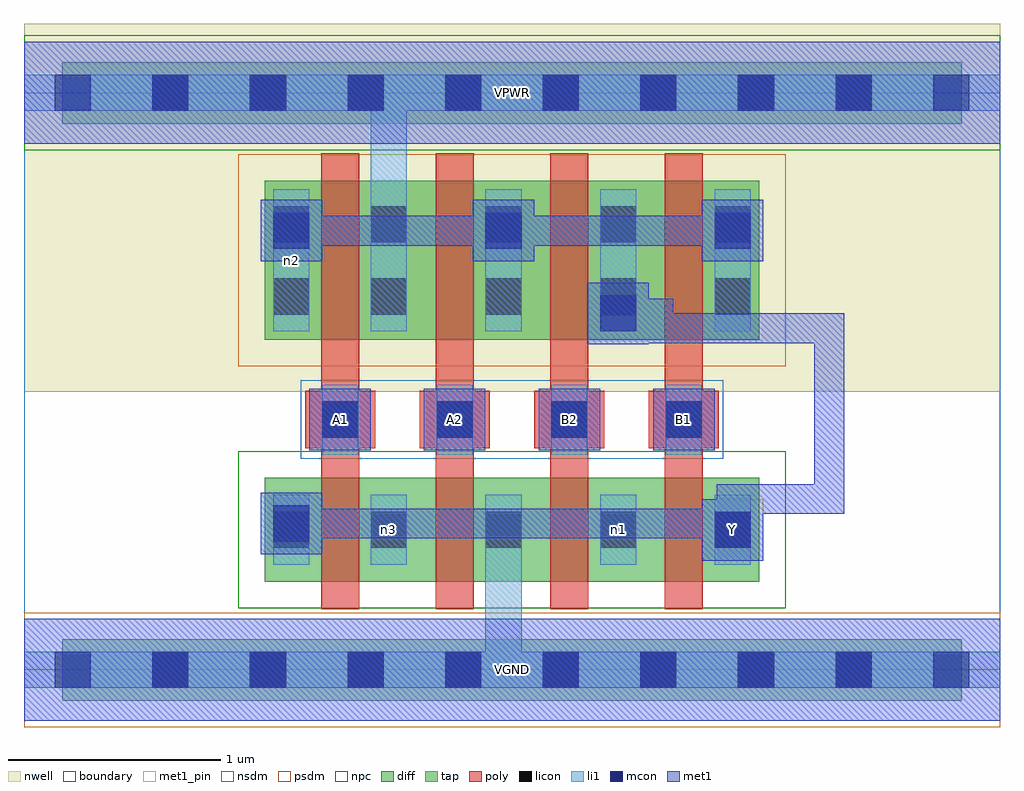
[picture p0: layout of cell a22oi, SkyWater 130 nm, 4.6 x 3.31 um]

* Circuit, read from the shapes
.subckt a22oi A1 A2 B1 B2 VGND VPWR Y n1 n2 n3
XM1 n3 A1 Y VGND sky130_fd_pr__nfet_01v8 w=0.49 l=0.18
XM2 VGND A2 n3 VGND sky130_fd_pr__nfet_01v8 w=0.49 l=0.18
XM3 n1 B2 VGND VGND sky130_fd_pr__nfet_01v8 w=0.49 l=0.18
XM4 Y B1 n1 VGND sky130_fd_pr__nfet_01v8 w=0.49 l=0.18
XM5 VPWR A1 n2 VPWR sky130_fd_pr__pfet_01v8 w=0.75 l=0.18
XM6 n2 A2 VPWR VPWR sky130_fd_pr__pfet_01v8 w=0.75 l=0.18
XM7 Y B2 n2 VPWR sky130_fd_pr__pfet_01v8 w=0.75 l=0.18
XM8 n2 B1 Y VPWR sky130_fd_pr__pfet_01v8 w=0.75 l=0.18
.ends

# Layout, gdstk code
import gdstk
lib = gdstk.Library(unit=1e-6, precision=1e-09)
def R(c, l, rs):  # rectangles x0, y0, x1, y1
    for r in rs: c.add(gdstk.rectangle(r[:2], r[2:], *l))
def A(c, l, x, y, w, h, nx, ny, dx, dy):  # array of equal rectangles
    R(c, l, [(x+i*dx, y+j*dy, x+i*dx+w, y+j*dy+h) for i in range(nx) for j in range(ny)])
nwell = (64, 20)
diff = (65, 20)
tap = (65, 44)
poly = (66, 20)
licon = (66, 44)
li1 = (67, 20)
mcon = (67, 44)
met1_pin = (68, 16)
met1 = (68, 20)
nsdm = (93, 44)
psdm = (94, 20)
npc = (95, 20)
boundary = (235, 4)

a22oi = lib.new_cell('a22oi')
R(a22oi, nwell, [(0,1.31,4.6,3.045)])
R(a22oi, diff, [(1.135,0.415,3.465,0.905), (1.135,1.555,3.465,2.305)])
R(a22oi, tap, [(0.18,-0.145,4.42,0.145), (0.18,2.575,4.42,2.865)])
A(a22oi, poly, 1.4, 0.285, 0.18, 2.15, 4, 1, 0.54, 0)
A(a22oi, poly, 1.325, 1.045, 0.33, 0.27, 4, 1, 0.54, 0)
A(a22oi, licon, 0.605, -0.085, 0.17, 0.17, 8, 2, 0.46, 2.72)
A(a22oi, licon, 1.635, 0.575, 0.17, 0.17, 4, 2, 0.54, 1.1)
A(a22oi, licon, 1.405, 1.095, 0.17, 0.17, 4, 1, 0.54, 0)
A(a22oi, licon, 1.635, 2.015, 0.17, 0.17, 4, 1, 0.54, 0)
R(a22oi, licon, [(1.175,0.575,1.345,0.745), (1.175,1.675,1.345,1.845), (1.175,2.015,1.345,2.185)])
A(a22oi, li1, 1.635, 0.495, 0.17, 0.33, 4, 1, 0.54, 0)
A(a22oi, li1, 1.405, 1.015, 0.17, 0.33, 4, 1, 0.54, 0)
A(a22oi, li1, 1.635, 1.595, 0.17, 0.67, 4, 1, 0.54, 0)
R(a22oi, li1, [(0,-0.085,4.6,0.085), (2.175,-0.085,2.345,0.825), (1.175,0.495,1.345,0.825), (1.175,1.595,1.345,2.265), (1.635,1.595,1.805,2.805), (0,2.635,4.6,2.805)])
A(a22oi, mcon, 0.145, -0.085, 0.17, 0.17, 10, 2, 0.46, 2.72)
A(a22oi, mcon, 1.405, 1.095, 0.17, 0.17, 4, 1, 0.54, 0)
R(a22oi, mcon, [(3.255,0.575,3.425,0.745), (1.175,0.605,1.345,0.775), (2.715,1.595,2.885,1.765), (1.175,1.985,1.345,2.155), (2.175,1.985,2.345,2.155), (3.255,1.985,3.425,2.155)])
A(a22oi, met1_pin, 1.345, 1.035, 0.29, 0.29, 4, 1, 0.54, 0)
R(a22oi, met1_pin, [(0,-0.24,4.6,0.24), (3.195,0.515,3.485,0.805), (0,2.48,4.6,2.96)])
A(a22oi, met1, 1.345, 1.035, 0.29, 0.29, 4, 1, 0.54, 0)
R(a22oi, met1, [(0,-0.24,4.6,0.24), (3.195,0.515,3.485,0.805), (1.115,0.545,1.405,0.835), (1.19,0.62,1.45,0.76), (1.31,0.62,3.405,0.76), (3.265,0.62,3.405,0.76), (3.265,0.62,3.405,0.875), (3.265,0.735,3.865,0.875), (3.725,0.735,3.865,1.68), (2.655,1.535,2.945,1.825), (2.92,1.54,3.06,1.75), (2.92,1.54,3.865,1.68), (2.73,1.61,3.06,1.75), (1.115,1.925,1.405,2.215), (2.115,1.925,2.405,2.215), (3.195,1.925,3.485,2.215), (1.19,2,1.45,2.14), (1.31,2,2.485,2.14), (2.19,2,2.485,2.14), (2.345,2,3.29,2.14), (3.15,2,3.41,2.14), (0,2.48,4.6,2.96)])
R(a22oi, nsdm, [(1.01,0.29,3.59,1.03), (0,2.45,4.6,2.99)])
R(a22oi, psdm, [(0,-0.27,4.6,0.27), (1.01,1.43,3.59,2.43)])
R(a22oi, npc, [(1.305,0.995,3.295,1.365)])
R(a22oi, boundary, [(0,0,4.6,2.72)])
a22oi.add(gdstk.Label('n3', (1.72,0.66), layer=67, texttype=5))
a22oi.add(gdstk.Label('n1', (2.8,0.66), layer=67, texttype=5))
a22oi.add(gdstk.Label('n2', (1.26,1.93), layer=67, texttype=5))
a22oi.add(gdstk.Label('A1', (1.49,1.18), layer=68, texttype=5))
a22oi.add(gdstk.Label('A2', (2.03,1.18), layer=68, texttype=5))
a22oi.add(gdstk.Label('B1', (3.11,1.18), layer=68, texttype=5))
a22oi.add(gdstk.Label('B2', (2.57,1.18), layer=68, texttype=5))
a22oi.add(gdstk.Label('Y', (3.34,0.66), layer=68, texttype=5))
a22oi.add(gdstk.Label('VPWR', (2.3,2.72), layer=68, texttype=5))
a22oi.add(gdstk.Label('VGND', (2.3,0), layer=68, texttype=5))
a22oi.add(gdstk.Label('A1', (1.49,1.18), layer=68, texttype=16))
a22oi.add(gdstk.Label('A2', (2.03,1.18), layer=68, texttype=16))
a22oi.add(gdstk.Label('B1', (3.11,1.18), layer=68, texttype=16))
a22oi.add(gdstk.Label('B2', (2.57,1.18), layer=68, texttype=16))
a22oi.add(gdstk.Label('Y', (3.34,0.66), layer=68, texttype=16))
a22oi.add(gdstk.Label('VPWR', (2.3,2.72), layer=68, texttype=16))
a22oi.add(gdstk.Label('VGND', (2.3,0), layer=68, texttype=16))

lib.write_gds('a22oi.gds')
